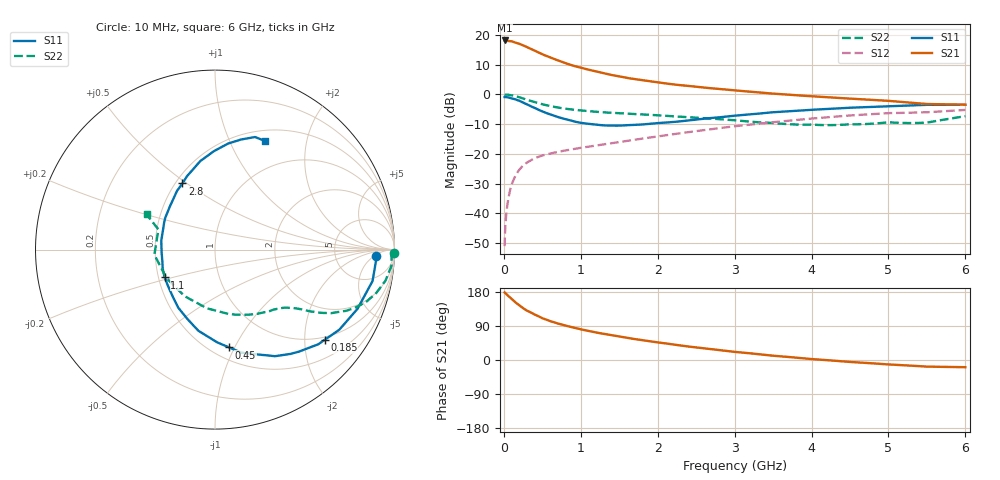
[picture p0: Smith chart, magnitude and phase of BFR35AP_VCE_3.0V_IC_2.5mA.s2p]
! Infineon Technologies  Discrete & RF Semiconductors
! BFR35AP
! VCE =  3.0 V,  IC =  2.5 mA
! Common Emitter S-Parameters:  Nov 2015
# GHz  S  MA  R  50
!  f  S11  S21  S12  S22
! GHz  MAG  ANG  MAG  ANG  MAG  ANG  MAG  ANG
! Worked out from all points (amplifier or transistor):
!   210 points, 10 MHz to 6 GHz, reference 50 ohm
!   highest |S21| = 18.1 dB at 10 MHz (marker M1)
!   |S21| within 3 dB of that: start of sweep to 361.9 MHz
!   unconditionally stable (mu >= 1): 1.076 GHz to 3.901 GHz; 5.34 GHz to 5.731 GHz
!   at 185 MHz: K = 0.25, MSG = 21.5 dB, |S12| = -26.0 dB
!   at 1.52 GHz: K = 1.14, MAG = 8.7 dB, |S12| = -16.0 dB
!   at 6 GHz: K = 0.98, MSG = 0.9 dB, |S12| = -5.2 dB
!   S11 on the Smith chart (normalised r, x): 10 MHz: 16, -6; 185 MHz: 0.92, -2.49; 450 MHz: 0.61, -0.95; 1.1 GHz: 0.54, -0.19; 2.8 GHz: 0.54, +0.48; 6 GHz: 0.62, +1.36
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0.01  0.8993 -2.4  8.046 178.3  0.0028 88.4  0.9966 -1.0
0.025  0.8969 -5.7  7.958 175.2  0.0077 85.8  0.9847 -2.6
0.06  0.8853 -13.5  7.892 168.8  0.0181 81.4  0.9823 -6.3
0.1  0.8597 -22.6  7.828 161.5  0.03 77.7  0.9655 -10.3
0.15  0.824 -32.8  7.415 152.2  0.0425 71.2  0.9309 -15.0
0.185  0.7912 -39.5  7.165 146.8  0.0504 68.0  0.9046 -17.6
0.24  0.7364 -50.5  6.761 138.3  0.0615 63.1  0.8589 -21.5
0.3  0.6811 -60.7  6.23 130.3  0.0713 59.0  0.8087 -24.9
0.45  0.5509 -81.7  5.037 115.5  0.0889 52.2  0.7099 -29.8
0.5  0.5161 -88.8  4.708 110.3  0.0938 50.6  0.6808 -31.1
0.58  0.4707 -98.7  4.283 104.4  0.0995 49.0  0.6435 -32.5
0.7  0.4167 -111.5  3.727 96.4  0.1076 47.5  0.5996 -34.1
0.84  0.3707 -125.6  3.213 88.8  0.1164 46.7  0.5646 -35.6
1.02  0.3289 -143.7  2.757 80.1  0.1272 46.8  0.5336 -37.4
1.1  0.3204 -151.1  2.598 76.7  0.1319 47.0  0.5219 -38.4
1.6  0.3035 170.5  1.888 58.4  0.1647 48.4  0.4707 -44.9
2.02  0.3297 146.8  1.578 46.0  0.1979 48.7  0.4424 -52.2
2.8  0.4106 116.2  1.233 26.2  0.27 45.3  0.3827 -71.5
3.1  0.4482 108.5  1.136 19.6  0.3 42.7  0.3561 -81.7
4.1  0.5576 88.9  0.911 1.1  0.4007 31.8  0.3052 -128.4
5.1  0.6368 75.4  0.758 -12.7  0.4853 17.5  0.3331 -180.0
6  0.666 65.5  0.671 -19.0  0.5466 6.6  0.4285 152.8
